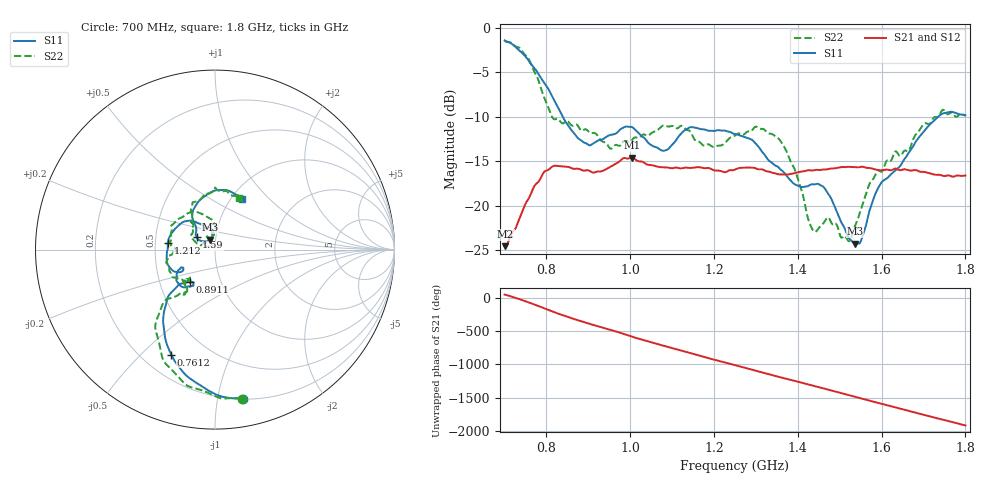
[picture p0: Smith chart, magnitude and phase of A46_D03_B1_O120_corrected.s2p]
! Created with skrf 1.9.0 (http://scikit-rf.org).
# Hz S RI R 50.0
!freq ReS11 ImS11 ReS21 ImS21 ReS12 ImS12 ReS22 ImS22
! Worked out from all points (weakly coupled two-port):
!   1601 points, 700 MHz to 1.8 GHz, reference 50 ohm
!   highest |S21| = -14.59 dB at 1.005 GHz (marker M1); lowest = -24.5 dB at 701.4 MHz (marker M2)
!   lowest |S11| = -24.3 dB at 1.537 GHz (marker M3), VSWR 1.13, Z = 47.1 + j5.18 ohm
!   |S11| at or under -10 dB: 838.8 MHz to 1.735 GHz (895.8 MHz wide, 69.6 % of centre)
!   |S22| runs from -24.0 to -1.5 dB; largest |S21 - S12| = 0.0035
!   S11 on the Smith chart (normalised r, x): 700 MHz: 0.20, -1.19; 761.2 MHz: 0.32, -0.62; 891.1 MHz: 0.72, -0.27; 1.212 GHz: 0.58, +0.05; 1.59 GHz: 0.81, +0.11; 1.8 GHz: 1.12, +0.71
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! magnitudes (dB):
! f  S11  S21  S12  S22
! 700 MHz  -1.4  -24.5  -24.3  -1.5
! 701.4 MHz  -1.5  -24.5  -24.2  -1.5
! 761.2 MHz  -4.0  -18.8  -18.7  -3.9
! 814.8 MHz  -7.8  -15.6  -15.6  -10.1
! 883.6 MHz  -12.7  -16.0  -15.9  -11.6
! 891.1 MHz  -12.9  -16.1  -16.1  -11.4
! 953 MHz  -12.0  -15.6  -15.6  -13.6
! 1.005 GHz  -11.2  -14.6  -14.7  -12.6
! 1.067 GHz  -13.5  -15.6  -15.6  -11.4
! 1.143 GHz  -11.2  -15.8  -15.7  -11.6
! 1.212 GHz  -11.5  -16.1  -16.0  -13.2
! 1.25 GHz  -11.9  -15.9  -15.9  -12.1
! 1.357 GHz  -15.8  -16.5  -16.4  -12.6
! 1.394 GHz  -17.6  -16.3  -16.3  -16.1
! 1.434 GHz  -17.6  -16.0  -16.0  -22.5
! 1.473 GHz  -18.7  -15.9  -15.9  -21.3
! 1.522 GHz  -23.6  -15.6  -15.6  -24.0
! 1.537 GHz  -24.3  -15.7  -15.7  -22.3
! 1.59 GHz  -18.2  -16.0  -16.0  -16.1
! 1.617 GHz  -16.7  -16.0  -15.9  -15.0
! 1.737 GHz  -9.9  -16.5  -16.6  -9.9
! 1.8 GHz  -9.8  -16.6  -16.6  -9.9
